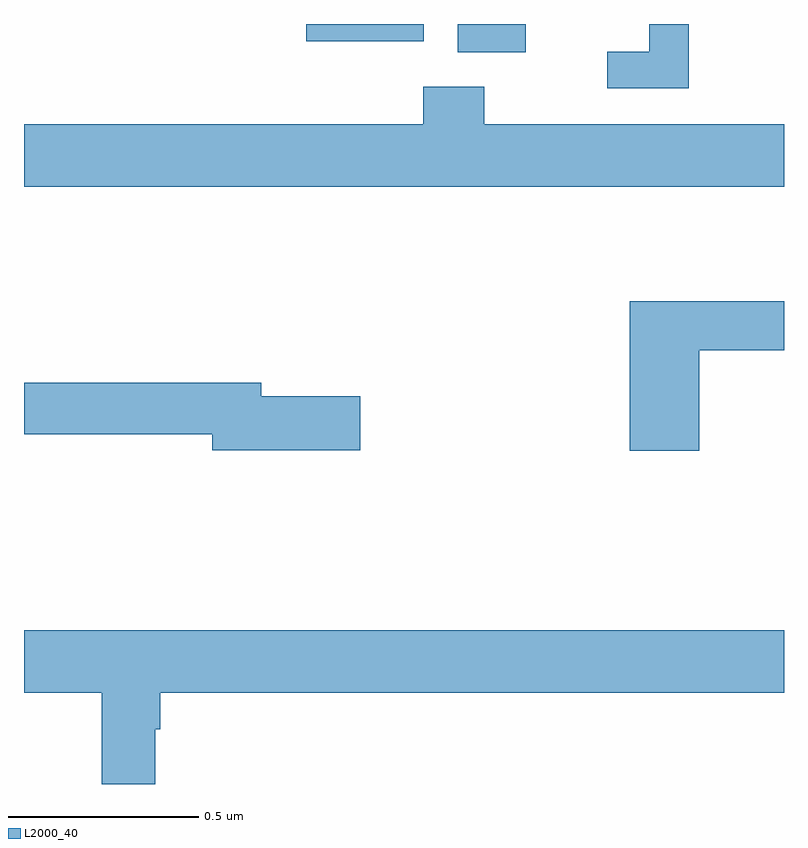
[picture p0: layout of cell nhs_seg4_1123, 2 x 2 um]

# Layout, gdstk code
import gdstk
lib = gdstk.Library(unit=1e-6, precision=1e-09)
def R(c, l, rs):  # rectangles x0, y0, x1, y1
    for r in rs: c.add(gdstk.rectangle(r[:2], r[2:], *l))
def P(c, l, *ps):  # polygons
    for p in ps: c.add(gdstk.Polygon(p, *l))
L2000_40 = (2000, 40)

nhs_seg4_1123 = lib.new_cell('nhs_seg4_1123')
R(nhs_seg4_1123, L2000_40, [(125.141,811.826,125.32,811.9), (124.743,811.855,125.052,811.9)])
P(nhs_seg4_1123, L2000_40, [(125.749,811.9),(125.645,811.9),(125.645,811.827),(125.535,811.827),(125.535,811.731),(125.749,811.731)],
  [(126,811.636),(125.211,811.636),(125.211,811.735),(125.051,811.735),(125.051,811.636),(124,811.636),(124,811.472),(126,811.472)],
  [(125.777,811.042),(126,811.042),(126,811.171),(125.594,811.171),(125.594,810.777),(125.777,810.777)],
  [(124.885,810.92),(124.624,810.92),(124.624,810.956),(124,810.956),(124,810.82),(124.496,810.82),(124.496,810.778),(124.885,810.778)],
  [(124.345,810.044),(124.358,810.044),(124.358,810.14),(126,810.14),(126,810.304),(124,810.304),(124,810.14),(124.205,810.14),(124.205,809.9),(124.345,809.9)])

lib.write_gds('nhs_seg4_1123.gds')
